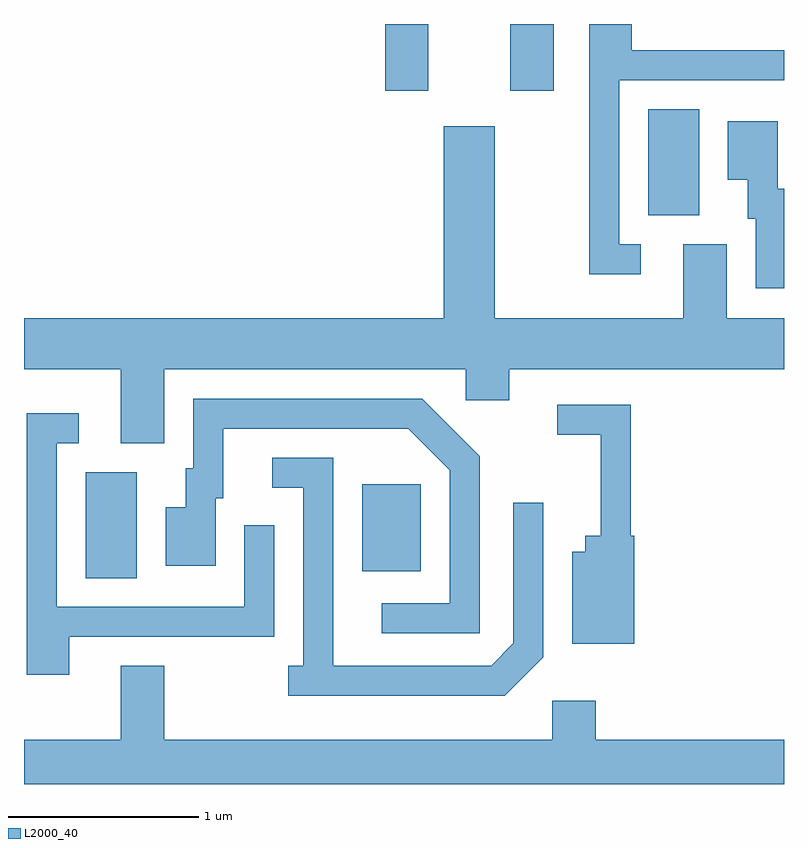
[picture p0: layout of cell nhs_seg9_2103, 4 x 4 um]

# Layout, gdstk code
import gdstk
lib = gdstk.Library(unit=1e-6, precision=1e-09)
def R(c, l, rs):  # rectangles x0, y0, x1, y1
    for r in rs: c.add(gdstk.rectangle(r[:2], r[2:], *l))
def P(c, l, *ps):  # polygons
    for p in ps: c.add(gdstk.Polygon(p, *l))
L2000_40 = (2000, 40)

nhs_seg9_2103 = lib.new_cell('nhs_seg9_2103')
R(nhs_seg9_2103, L2000_40, [(245.936,2079.516,246.204,2080.074), (247.391,2079.551,247.699,2080.009), (248.896,2081.426,249.164,2081.984), (247.511,2082.081,247.739,2082.432), (248.171,2082.081,248.399,2082.432)])
P(nhs_seg9_2103, L2000_40, [(248.858,2081.274),(248.744,2081.274),(248.744,2082.136),(249.611,2082.136),(249.611,2082.294),(248.809,2082.294),(248.809,2082.432),(248.586,2082.432),(248.586,2081.116),(248.858,2081.116)],
  [(249.611,2081.564),(249.579,2081.564),(249.579,2081.919),(249.316,2081.919),(249.316,2081.611),(249.421,2081.611),(249.421,2081.406),(249.461,2081.406),(249.461,2081.041),(249.611,2081.041)],
  [(245.611,2080.616),(246.121,2080.616),(246.121,2080.226),(246.349,2080.226),(246.349,2080.616),(247.936,2080.616),(247.936,2080.451),(248.164,2080.451),(248.164,2080.616),(249.611,2080.616),(249.611,2080.884),(249.309,2080.884),(249.309,2081.274),(249.081,2081.274),(249.081,2080.884),(248.089,2080.884),(248.089,2081.894),(247.821,2081.894),(247.821,2080.884),(245.611,2080.884)],
  [(248.009,2080.157),(247.707,2080.459),(246.501,2080.459),(246.501,2080.094),(246.461,2080.094),(246.461,2079.889),(246.356,2079.889),(246.356,2079.581),(246.619,2079.581),(246.619,2079.936),(246.659,2079.936),(246.659,2080.301),(247.634,2080.301),(247.851,2080.084),(247.851,2079.384),(247.493,2079.384),(247.493,2079.226),(248.009,2079.226)],
  [(248.824,2079.739),(248.804,2079.739),(248.804,2080.429),(248.418,2080.429),(248.418,2080.271),(248.646,2080.271),(248.646,2079.739),(248.566,2079.739),(248.566,2079.654),(248.496,2079.654),(248.496,2079.171),(248.824,2079.171)],
  [(245.849,2079.206),(246.929,2079.206),(246.929,2079.793),(246.771,2079.793),(246.771,2079.364),(245.784,2079.364),(245.784,2080.226),(245.898,2080.226),(245.898,2080.384),(245.626,2080.384),(245.626,2079.006),(245.849,2079.006)],
  [(248.344,2079.099),(248.344,2079.913),(248.186,2079.913),(248.186,2079.172),(248.069,2079.054),(247.239,2079.054),(247.239,2080.149),(246.918,2080.149),(246.918,2079.991),(247.081,2079.991),(247.081,2079.054),(247.003,2079.054),(247.003,2078.896),(248.142,2078.896)],
  [(249.611,2078.664),(248.619,2078.664),(248.619,2078.869),(248.391,2078.869),(248.391,2078.664),(246.349,2078.664),(246.349,2079.054),(246.121,2079.054),(246.121,2078.664),(245.611,2078.664),(245.611,2078.432),(249.611,2078.432)])

lib.write_gds('nhs_seg9_2103.gds')
